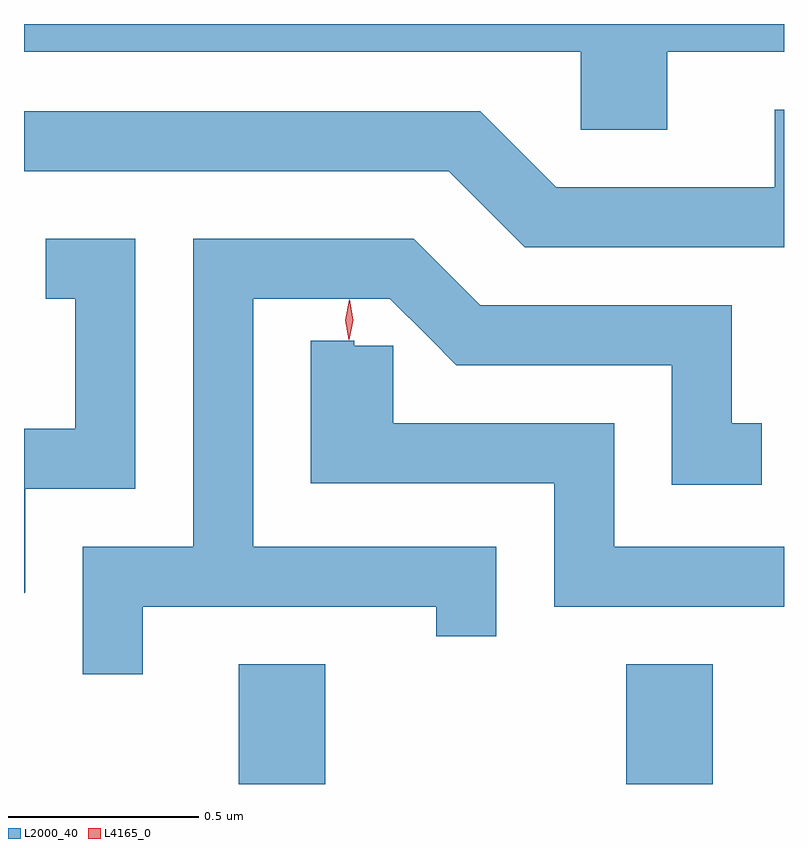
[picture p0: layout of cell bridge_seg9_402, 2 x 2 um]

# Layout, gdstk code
import gdstk
lib = gdstk.Library(unit=1e-6, precision=1e-09)
def R(c, l, rs):  # rectangles x0, y0, x1, y1
    for r in rs: c.add(gdstk.rectangle(r[:2], r[2:], *l))
def P(c, l, *ps):  # polygons
    for p in ps: c.add(gdstk.Polygon(p, *l))
L2000_40 = (2000, 40)
L4165_0 = (4165, 0)

bridge_seg9_402 = lib.new_cell('bridge_seg9_402')
R(bridge_seg9_402, L2000_40, [(973.511,1989.889,973.739,1990.204), (974.531,1989.889,974.759,1990.204)])
P(bridge_seg9_402, L2000_40, [(974.639,1991.816),(974.946,1991.816),(974.946,1991.889),(972.946,1991.889),(972.946,1991.816),(974.411,1991.816),(974.411,1991.611),(974.639,1991.611)],
  [(974.946,1991.664),(974.921,1991.664),(974.921,1991.459),(974.347,1991.459),(974.147,1991.659),(972.946,1991.659),(972.946,1991.501),(974.064,1991.501),(974.264,1991.301),(974.946,1991.301)],
  [(973.259,1990.356),(974.031,1990.356),(974.031,1990.278),(974.189,1990.278),(974.189,1990.514),(973.549,1990.514),(973.549,1991.166),(973.909,1991.166),(974.013,1991.063),(974.084,1990.991),(974.651,1990.991),(974.651,1990.676),(974.888,1990.676),(974.888,1990.839),(974.809,1990.839),(974.809,1991.149),(974.147,1991.149),(973.972,1991.324),(973.391,1991.324),(973.391,1990.514),(973.101,1990.514),(973.101,1990.178),(973.259,1990.178)],
  [(972.949,1990.394),(972.949,1990.666),(973.239,1990.666),(973.239,1991.324),(973.003,1991.324),(973.003,1991.166),(973.081,1991.166),(973.081,1990.824),(972.946,1990.824),(972.946,1990.391)],
  [(974.946,1990.514),(974.499,1990.514),(974.499,1990.839),(973.918,1990.839),(973.918,1991.042),(973.815,1991.042),(973.815,1991.056),(973.701,1991.056),(973.701,1990.681),(974.341,1990.681),(974.341,1990.356),(974.946,1990.356)])
P(bridge_seg9_402, L4165_0, [(973.801,1991.058),(973.792,1991.11),(973.802,1991.163),(973.802,1991.164),(973.803,1991.163),(973.812,1991.11),(973.802,1991.058),(973.802,1991.058)],
  [(973.801,1991.06),(973.792,1991.11),(973.802,1991.16),(973.802,1991.161),(973.803,1991.16),(973.812,1991.11),(973.802,1991.06),(973.802,1991.06)])

lib.write_gds('bridge_seg9_402.gds')
